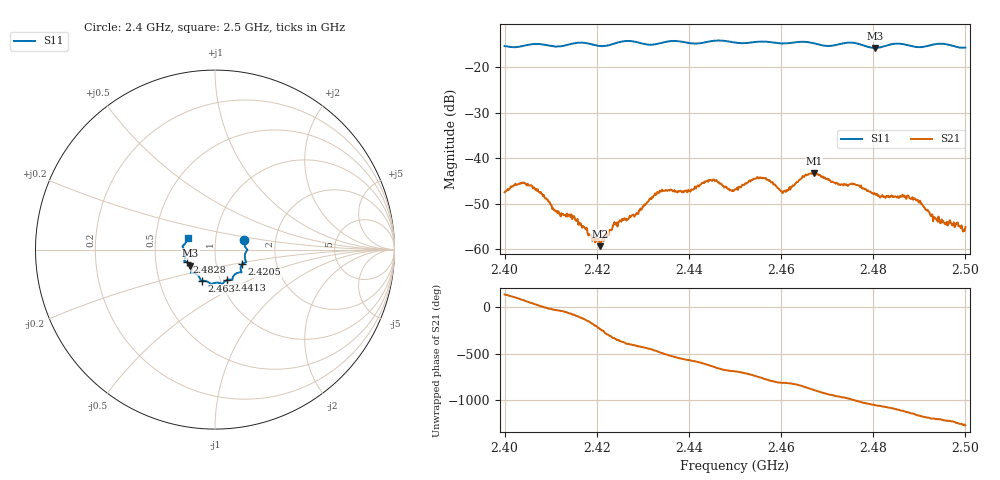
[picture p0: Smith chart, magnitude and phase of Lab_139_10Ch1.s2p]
# Hz S RI R 50
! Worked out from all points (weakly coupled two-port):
!   601 points, 2.4 GHz to 2.5 GHz, reference 50 ohm
!   highest |S21| = -43.24 dB at 2.4672 GHz (marker M1); lowest = -59.4 dB at 2.4207 GHz (marker M2)
!   lowest |S11| = -15.7 dB at 2.4803 GHz (marker M3), VSWR 1.39, Z = 37.4 - j6.83 ohm
!   |S11| at or under -10 dB: start of sweep to end of sweep
!   S12 and S22 are empty: the file has one direction only
!   S11 on the Smith chart (normalised r, x): 2.4 GHz: 1.38, +0.15; 2.4205 GHz: 1.34, -0.22; 2.4413 GHz: 1.08, -0.38; 2.463 GHz: 0.82, -0.29; 2.4828 GHz: 0.72, -0.10; 2.5 GHz: 0.73, +0.10
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2.4e9  0.1628 0.0527  -0.00306 0.00289  0 0  0 0
2.4055e9  0.1781 0.00216  0.00329 0.00377  0 0  0 0
2.411e9  0.1675 -0.0248  0.00229 -0.00136  0 0  0 0
2.416667e9  0.1734 -0.0698  -0.000838 -0.00161  0 0  0 0
2.4205e9  0.1518 -0.0809  -0.00086 0.000902  0 0  0 0
2.420667e9  0.1508 -0.0822  -0.000608 0.000887  0 0  0 0
2.423833e9  0.1436 -0.113  0.00176 0.000895  0 0  0 0
2.433333e9  0.1004 -0.1515  -0.00207 -0.00365  0 0  0 0
2.441333e9  0.0677 -0.1694  -0.00358 0.00334  0 0  0 0
2.445e9  0.0437 -0.1898  0.000551 0.0056  0 0  0 0
2.45e9  0.0247 -0.1856  0.00403 0.00207  0 0  0 0
2.455333e9  -0.0179 -0.1909  0.00499 -0.00358  0 0  0 0
2.4605e9  -0.051 -0.1757  -0.000454 -0.00422  0 0  0 0
2.463e9  -0.072 -0.1736  -0.00182 -0.00483  0 0  0 0
2.466667e9  -0.0815 -0.1674  -0.0066 -0.00177  0 0  0 0
2.467167e9  -0.0825 -0.1642  -0.00685 -0.000736  0 0  0 0
2.480333e9  -0.1372 -0.0888  0.00376 0.0017  0 0  0 0
2.482833e9  -0.1585 -0.07  0.00381 8.26e-05  0 0  0 0
2.483333e9  -0.1624 -0.0684  0.00386 -0.000183  0 0  0 0
2.489e9  -0.1645 -0.0355  0.00092 -0.00349  0 0  0 0
2.4935e9  -0.1796 0.0127  -0.00126 -0.0018  0 0  0 0
2.5e9  -0.1521 0.0639  -0.00168 0.00047  0 0  0 0
